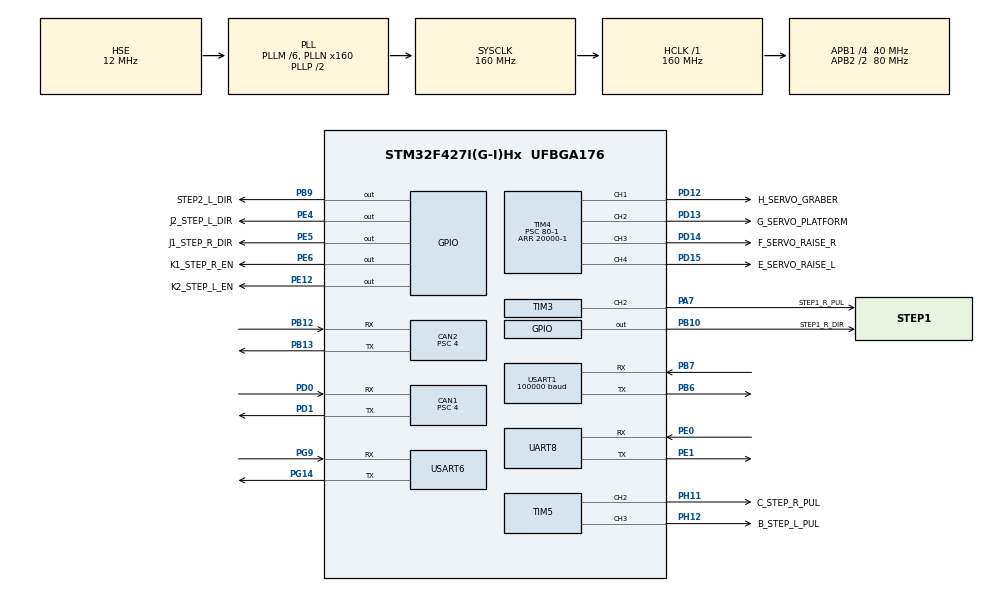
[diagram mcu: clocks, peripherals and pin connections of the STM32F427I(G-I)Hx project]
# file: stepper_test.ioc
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CAN1.BS1=CAN_BS1_6TQ
CAN1.BS2=CAN_BS2_3TQ
CAN1.CalculateBaudRate=1000000
CAN1.CalculateTimeBit=1000.00
CAN1.CalculateTimeQuantum=100.0
CAN1.Prescaler=4
CAN1.SJW=CAN_SJW_2TQ
CAN2.BS1=CAN_BS1_6TQ
CAN2.BS2=CAN_BS2_3TQ
CAN2.CalculateBaudRate=1000000
CAN2.CalculateTimeBit=1000.00
CAN2.CalculateTimeQuantum=100.0
CAN2.Prescaler=4
CAN2.SJW=CAN_SJW_2TQ
Dma.Request0=USART6_RX
Dma.Request1=USART6_TX
Dma.Request2=UART8_RX
Dma.Request3=UART8_TX
Dma.Request4=USART1_RX
Dma.UART8_RX.2.Direction=DMA_PERIPH_TO_MEMORY
Dma.UART8_RX.2.FIFOMode=DMA_FIFOMODE_DISABLE
Dma.UART8_RX.2.Instance=DMA1_Stream6
Dma.UART8_RX.2.MemDataAlignment=DMA_MDATAALIGN_BYTE
Dma.UART8_RX.2.MemInc=DMA_MINC_ENABLE
Dma.UART8_RX.2.Mode=DMA_NORMAL
Dma.UART8_RX.2.PeriphDataAlignment=DMA_PDATAALIGN_BYTE
Dma.UART8_RX.2.PeriphInc=DMA_PINC_DISABLE
Dma.UART8_RX.2.Priority=DMA_PRIORITY_LOW
Dma.UART8_TX.3.Direction=DMA_MEMORY_TO_PERIPH
Dma.UART8_TX.3.FIFOMode=DMA_FIFOMODE_DISABLE
Dma.UART8_TX.3.Instance=DMA1_Stream0
Dma.UART8_TX.3.MemDataAlignment=DMA_MDATAALIGN_BYTE
Dma.UART8_TX.3.MemInc=DMA_MINC_ENABLE
Dma.UART8_TX.3.Mode=DMA_NORMAL
Dma.UART8_TX.3.PeriphDataAlignment=DMA_PDATAALIGN_BYTE
Dma.UART8_TX.3.PeriphInc=DMA_PINC_DISABLE
Dma.UART8_TX.3.Priority=DMA_PRIORITY_LOW
Dma.USART1_RX.4.Direction=DMA_PERIPH_TO_MEMORY
Dma.USART1_RX.4.FIFOMode=DMA_FIFOMODE_DISABLE
Dma.USART1_RX.4.Instance=DMA2_Stream2
Dma.USART1_RX.4.MemDataAlignment=DMA_MDATAALIGN_BYTE
Dma.USART1_RX.4.MemInc=DMA_MINC_ENABLE
Dma.USART1_RX.4.Mode=DMA_NORMAL
Dma.USART1_RX.4.PeriphDataAlignment=DMA_PDATAALIGN_BYTE
Dma.USART1_RX.4.PeriphInc=DMA_PINC_DISABLE
Dma.USART1_RX.4.Priority=DMA_PRIORITY_LOW
Dma.USART6_RX.0.Direction=DMA_PERIPH_TO_MEMORY
Dma.USART6_RX.0.FIFOMode=DMA_FIFOMODE_DISABLE
Dma.USART6_RX.0.Instance=DMA2_Stream1
Dma.USART6_RX.0.MemDataAlignment=DMA_MDATAALIGN_BYTE
Dma.USART6_RX.0.MemInc=DMA_MINC_ENABLE
Dma.USART6_RX.0.Mode=DMA_NORMAL
Dma.USART6_RX.0.PeriphDataAlignment=DMA_PDATAALIGN_BYTE
Dma.USART6_RX.0.PeriphInc=DMA_PINC_DISABLE
Dma.USART6_RX.0.Priority=DMA_PRIORITY_HIGH
Dma.USART6_TX.1.Direction=DMA_MEMORY_TO_PERIPH
Dma.USART6_TX.1.FIFOMode=DMA_FIFOMODE_DISABLE
Dma.USART6_TX.1.Instance=DMA2_Stream6
Dma.USART6_TX.1.MemDataAlignment=DMA_MDATAALIGN_BYTE
Dma.USART6_TX.1.MemInc=DMA_MINC_ENABLE
Dma.USART6_TX.1.Mode=DMA_NORMAL
Dma.USART6_TX.1.PeriphDataAlignment=DMA_PDATAALIGN_BYTE
Dma.USART6_TX.1.PeriphInc=DMA_PINC_DISABLE
Dma.USART6_TX.1.Priority=DMA_PRIORITY_LOW
FREERTOS.Tasks01=defaultTask,24,128,StartDefaultTask,Default,NULL,Dynamic,NULL,NULL
Mcu.Family=STM32F4
Mcu.Name=STM32F427I(G-I)Hx
Mcu.Package=UFBGA176
NVIC.CAN1_RX0_IRQn=true\:5\:0\:false\:false\:true\:true\:true\:true
NVIC.CAN1_RX1_IRQn=true\:5\:0\:false\:false\:true\:true\:true\:true
NVIC.CAN2_RX0_IRQn=true\:5\:0\:false\:false\:true\:true\:true\:true
NVIC.CAN2_RX1_IRQn=true\:5\:0\:false\:false\:true\:true\:true\:true
NVIC.DMA1_Stream0_IRQn=true\:5\:0\:false\:false\:true\:true\:false\:true
NVIC.DMA1_Stream6_IRQn=true\:5\:0\:false\:false\:true\:true\:false\:true
NVIC.DMA2_Stream1_IRQn=true\:5\:0\:false\:false\:true\:true\:false\:true
NVIC.DMA2_Stream2_IRQn=true\:5\:0\:false\:false\:true\:true\:false\:true
NVIC.DMA2_Stream6_IRQn=true\:5\:0\:false\:false\:true\:true\:false\:true
NVIC.PriorityGroup=NVIC_PRIORITYGROUP_4
NVIC.TIM1_UP_TIM10_IRQn=true\:5\:0\:false\:false\:true\:true\:true\:true
NVIC.TIM7_IRQn=true\:0\:0\:false\:false\:true\:false\:false\:true
NVIC.TimeBase=TIM7_IRQn
NVIC.TimeBaseIP=TIM7
NVIC.UART8_IRQn=true\:5\:0\:false\:false\:true\:true\:true\:true
NVIC.USART1_IRQn=true\:5\:0\:false\:false\:true\:true\:true\:true
NVIC.USART6_IRQn=true\:5\:0\:false\:false\:true\:true\:true\:true
PA13.Mode=Serial_Wire
PA13.Signal=SYS_JTMS-SWDIO
PA14.Mode=Serial_Wire
PA14.Signal=SYS_JTCK-SWCLK
PA7.GPIO_Label=STEP1_R_PUL
PA7.Signal=S_TIM3_CH2
PB10.GPIO_Label=STEP1_R_DIR
PB10.GPIO_Speed=GPIO_SPEED_FREQ_HIGH
PB10.Signal=GPIO_Output
PB12.Mode=CAN_Activate
PB12.Signal=CAN2_RX
PB13.Mode=CAN_Activate
PB13.Signal=CAN2_TX
PB6.Mode=Asynchronous
PB6.Signal=USART1_TX
PB7.Mode=Asynchronous
PB7.Signal=USART1_RX
PB9.GPIO_Label=STEP2_L_DIR
PB9.GPIO_Speed=GPIO_SPEED_FREQ_HIGH
PB9.Signal=GPIO_Output
PD0.Mode=CAN_Activate
PD0.Signal=CAN1_RX
PD1.Mode=CAN_Activate
PD1.Signal=CAN1_TX
PD12.GPIO_Label=H_SERVO_GRABER
PD12.GPIO_ModeDefaultPP=GPIO_MODE_AF_PP
PD12.GPIO_PuPd=GPIO_NOPULL
PD12.GPIO_Speed=GPIO_SPEED_FREQ_LOW
PD12.Signal=S_TIM4_CH1
PD13.GPIO_Label=G_SERVO_PLATFORM
PD13.GPIO_ModeDefaultPP=GPIO_MODE_AF_PP
PD13.GPIO_PuPd=GPIO_NOPULL
PD13.GPIO_Speed=GPIO_SPEED_FREQ_LOW
PD13.Signal=S_TIM4_CH2
PD14.GPIO_Label=F_SERVO_RAISE_R
PD14.GPIO_ModeDefaultPP=GPIO_MODE_AF_PP
PD14.GPIO_PuPd=GPIO_NOPULL
PD14.GPIO_Speed=GPIO_SPEED_FREQ_LOW
PD14.Signal=S_TIM4_CH3
PD15.GPIO_Label=E_SERVO_RAISE_L
PD15.GPIO_ModeDefaultPP=GPIO_MODE_AF_PP
PD15.GPIO_PuPd=GPIO_NOPULL
PD15.GPIO_Speed=GPIO_SPEED_FREQ_LOW
PD15.Signal=S_TIM4_CH4
PE0.Mode=Asynchronous
PE0.Signal=UART8_RX
PE1.Mode=Asynchronous
PE1.Signal=UART8_TX
PE12.GPIO_Label=K2_STEP_L_EN
PE12.Signal=GPIO_Output
PE4.GPIO_Label=J2_STEP_L_DIR
PE4.GPIO_Speed=GPIO_SPEED_FREQ_HIGH
PE4.Signal=GPIO_Output
PE5.GPIO_Label=J1_STEP_R_DIR
PE5.GPIO_PuPd=GPIO_NOPULL
PE5.GPIO_Speed=GPIO_SPEED_FREQ_HIGH
PE5.PinState=GPIO_PIN_RESET
PE5.Signal=GPIO_Output
PE6.GPIO_Label=K1_STEP_R_EN
PE6.Signal=GPIO_Output
PG14.Mode=Asynchronous
PG14.Signal=USART6_TX
PG9.Mode=Asynchronous
PG9.Signal=USART6_RX
PH0/OSC_IN.Mode=HSE-External-Oscillator
PH0/OSC_IN.Signal=RCC_OSC_IN
PH1/OSC_OUT.Mode=HSE-External-Oscillator
PH1/OSC_OUT.Signal=RCC_OSC_OUT
PH11.GPIO_Label=C_STEP_R_PUL
PH11.Signal=S_TIM5_CH2
PH12.GPIO_Label=B_STEP_L_PUL
PH12.Signal=S_TIM5_CH3
ProjectManager.HeapSize=0x200
ProjectManager.StackSize=0x400
ProjectManager.TargetToolchain=MDK-ARM V5.27
RCC.48MHZClocksFreq_Value=80000000
RCC.AHBFreq_Value=160000000
RCC.APB1CLKDivider=RCC_HCLK_DIV4
RCC.APB1Freq_Value=40000000
RCC.APB1TimFreq_Value=80000000
RCC.APB2CLKDivider=RCC_HCLK_DIV2
RCC.APB2Freq_Value=80000000
RCC.APB2TimFreq_Value=160000000
RCC.CortexFreq_Value=160000000
RCC.HCLKFreq_Value=160000000
RCC.HSE_VALUE=12000000
RCC.HSI_VALUE=16000000
RCC.LSE_VALUE=32768
RCC.PLLM=6
RCC.PLLN=160
RCC.PLLSourceVirtual=RCC_PLLSOURCE_HSE
RCC.SYSCLKFreq_VALUE=160000000
RCC.SYSCLKSource=RCC_SYSCLKSOURCE_PLLCLK
RCC.VCOOutputFreq_Value=320000000
SH.S_TIM3_CH2.0=TIM3_CH2,PWM Generation2 CH2
SH.S_TIM4_CH1.0=TIM4_CH1,PWM Generation1 CH1
SH.S_TIM4_CH2.0=TIM4_CH2,PWM Generation2 CH2
SH.S_TIM4_CH3.0=TIM4_CH3,PWM Generation3 CH3
SH.S_TIM4_CH4.0=TIM4_CH4,PWM Generation4 CH4
SH.S_TIM5_CH2.0=TIM5_CH2,PWM Generation2 CH2
SH.S_TIM5_CH3.0=TIM5_CH3,PWM Generation3 CH3
TIM3.AutoReloadPreload=TIM_AUTORELOAD_PRELOAD_ENABLE
TIM3.Channel-PWM\ Generation2\ CH2=TIM_CHANNEL_2
TIM3.Period=1000-1
TIM3.Prescaler=80-1
TIM3.Pulse-PWM\ Generation2\ CH2=500-1
TIM3.TIM_MasterOutputTrigger=TIM_TRGO_UPDATE
TIM3.TIM_MasterSlaveMode=TIM_MASTERSLAVEMODE_ENABLE
TIM4.AutoReloadPreload=TIM_AUTORELOAD_PRELOAD_ENABLE
TIM4.Channel-PWM\ Generation1\ CH1=TIM_CHANNEL_1
TIM4.Channel-PWM\ Generation2\ CH2=TIM_CHANNEL_2
TIM4.Channel-PWM\ Generation3\ CH3=TIM_CHANNEL_3
TIM4.Channel-PWM\ Generation4\ CH4=TIM_CHANNEL_4
TIM4.Period=20000-1
TIM4.Prescaler=80-1
TIM5.Channel-PWM\ Generation2\ CH2=TIM_CHANNEL_2
TIM5.Channel-PWM\ Generation3\ CH3=TIM_CHANNEL_3
UART8.VirtualMode=Asynchronous
USART1.BaudRate=100000
USART1.Mode=MODE_RX
USART1.VirtualMode=VM_ASYNC
USART6.VirtualMode=VM_ASYNC
VP_FREERTOS_VS_CMSIS_V2.Mode=CMSIS_V2
VP_SYS_VS_tim7.Mode=TIM7
VP_TIM1_VS_ClockSourceINT.Mode=Internal
VP_TIM1_VS_ClockSourceITR.Mode=TriggerSource_ITR2
VP_TIM1_VS_ControllerModeGated.Mode=Gated Mode
board=custom

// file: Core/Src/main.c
/* USER CODE BEGIN Header */
/**
  ******************************************************************************
  * @file           : main.c
  * @brief          : Main program body
  ******************************************************************************
  * @attention
  *
  * <h2><center>&copy; Copyright (c) 2021 STMicroelectronics.
  * All rights reserved.</center></h2>
  *
  * This software component is licensed by ST under BSD 3-Clause license,
  * the "License"; You may not use this file except in compliance with the
  * License. You may obtain a copy of the License at:
  *                        opensource.org/licenses/BSD-3-Clause
  *
  ******************************************************************************
  */
/* USER CODE END Header */
#include "main.h"
#include "cmsis_os.h"
#include "can.h"
#include "dma.h"
#include "tim.h"
#include "usart.h"
#include "gpio.h"

/* USER CODE BEGIN Includes */
#include "navigation_module.h"
#include "motor.h"
#include "servo.h"
#include "bsp_can.h"
#include "stepper.h"
#include "arm.h"
#include "chassis.h"
#include "remote.h"
/* USER CODE END Includes */

/* USER CODE BEGIN PV */
extern struct Servo_t servo_grab;
extern struct Servo_t servo_platform;
extern struct Servo_t servo_raise_l;
extern struct Servo_t  servo_raise_r;
extern struct Stepper_t stepper;
// uint8_t pwm_ok=0;
extern Arm_t robot_arm;
extern struct Chassis_t chassis;
extern struct DT7Remote_t Remote;

extern struct CAN_Motor can1_motor_1;
extern struct CAN_Motor can1_motor_2;
extern struct CAN_Motor can1_motor_3;
extern struct CAN_Motor can1_motor_4;

/* USER CODE END PV */

void SystemClock_Config(void);
void MX_FREERTOS_Init(void);
/* USER CODE BEGIN PFP */
// void out_pwm(uint32_t num)
// {
//   if(pwm_ok==1)
//   {
//     pwm_ok=0;
// 	__HAL_TIM_SetCounter(&htim1,0);
//     __HAL_TIM_SET_AUTORELOAD(&htim1,num-1);
//     HAL_TIM_Base_Start_IT(&htim1);
//     HAL_TIM_PWM_Start_IT(&htim3,TIM_CHANNEL_2);
//   }
// }
/* USER CODE END PFP */

int main(void)

{

  /* MCU Configuration--------------------------------------------------------*/

  /* Reset of all peripherals, Initializes the Flash interface and the Systick. */
  HAL_Init();

  /* Configure the system clock */
  SystemClock_Config();

  /* Initialize all configured peripherals */
  MX_GPIO_Init();
  MX_DMA_Init();
  MX_TIM4_Init();
  MX_TIM5_Init();
  MX_CAN1_Init();
  MX_USART6_UART_Init();
  MX_UART8_Init();
  MX_TIM1_Init();
  MX_TIM3_Init();
  MX_USART1_UART_Init();
  MX_CAN2_Init();
  /* USER CODE BEGIN 2 */
	Remote_init();
  navi_init();  //初始化定位模块通信
  CanFilterInit(&hcan1);
  arm_attach(&robot_arm,&servo_grab,&servo_raise_l,&servo_raise_r,&servo_platform,&stepper);
  //arm_param_init(&robot_arm,grabber_release,90,0,H);
	MotorParamInit(&can1_motor_1,100,0,0,2400,5000,0,0,0,0,0);
	MotorParamInit(&can1_motor_2,100,0,0,2400,5000,0,0,0,0,0);
	MotorParamInit(&can1_motor_3,100,0,0,2400,5000,0,0,0,0,0);
	MotorParamInit(&can1_motor_4,100,0,0,2400,5000,0,0,0,0,0);

  stepper_init(&stepper); //步进电机初始化
	HAL_TIM_PWM_Start(&htim4,TIM_CHANNEL_1);	//舵机
	HAL_TIM_PWM_Start(&htim4,TIM_CHANNEL_2);	//舵机
	HAL_TIM_PWM_Start(&htim4,TIM_CHANNEL_3);	//舵机
	HAL_TIM_PWM_Start(&htim4,TIM_CHANNEL_4);	//舵机

//	HAL_TIM_PWM_Start(&htim3,TIM_CHANNEL_2);	//步进
	// HAL_TIM_PWM_Start(&htim5,TIM_CHANNEL_3);	//步进

  // HAL_TIM_Base_Start_IT(&htim1);
	//HAL_TIM_PWM_Start_IT(&htim3,TIM_CHANNEL_2);
  //__HAL_TIM_SET_AUTORELOAD(&htim1,0);

	//HAL_GPIO_WritePin(STEP2_L_DIR_GPIO_Port,STEP2_L_DIR_Pin,GPIO_PIN_RESET);	//
	// HAL_GPIO_WritePin(J2_STEP_L_DIR_GPIO_Port,J2_STEP_L_DIR_Pin,GPIO_PIN_SET);	//暂时用作5v输出
	// HAL_GPIO_WritePin(K1_STEP_R_EN_GPIO_Port,K1_STEP_R_EN_Pin,GPIO_PIN_SET);

//	__HAL_TIM_SetAutoreload(&htim3,2000);
//	__HAL_TIM_SetCompare(&htim3,TIM_CHANNEL_2,6000);

	// new_aar=500;
  /* USER CODE END 2 */

  /* Init scheduler */
  //osKernelInitialize();  /* Call init function for freertos objects (in freertos.c) */
  //MX_FREERTOS_Init();
  /* Start scheduler */
  //osKernelStart();

  /* We should never get here as control is now taken by the scheduler */
  /* Infinite loop */
  while (1)
  {

    /* USER CODE BEGIN 3 */
//	  arm_turn_wrist(&robot_arm,(enum Wrist_Pos_e)outside);
//	  HAL_Delay(1000);
//	  arm_catch(&robot_arm);
//	  HAL_Delay(700);
//	  arm_turn_wrist(&robot_arm,(enum Wrist_Pos_e)hold);
//	  arm_turnToID(&robot_arm,I);
//	  HAL_Delay(200);
//	  arm_turn_wrist(&robot_arm,(enum Wrist_Pos_e)platform);
//	  HAL_Delay(1000);
//	  arm_release(&robot_arm);
//	  HAL_Delay(2000);
//	  arm_turn_wrist(&robot_arm,(enum Wrist_Pos_e)camera);
//	  HAL_Delay(800);
//	  arm_turnToID(&robot_arm,H);
//
//	  //arm_turnToID(&robot_arm,T);
//	  HAL_Delay(1500);
//		stepper_setSpeed(&stepper,-2300);
//		stepper_setSteps(&stepper,3000);
//		HAL_Delay(5000);
//		stepper_setSpeed(&stepper,1300);
//		stepper_setSteps(&stepper,3000);
//		HAL_Delay(5000);

	  if(Remote.inputmode==RC_Remote)
	  {
			//chassis_move(10,0);
//			stepper_setSpeed(&stepper,2300);
//			stepper_setSteps(&stepper,10000);
//			HAL_Delay(2000);
			arm_lift(&robot_arm,10000,2300);

			//CanTransmit_1234(&hcan1,-1000, 1000, 1000, -1000);

		}
		else if(Remote.inputmode==RC_Stop)
		{
			stepper_stop(&stepper);
			//CanTransmit_1234(&hcan1,0, 0, 0, 0);
			HAL_Delay(20);

		}
		else if(Remote.inputmode==RC_MouseKey)
		{
			stepper_setSpeed(&stepper,-2300);
			stepper_setSteps(&stepper,10000);
			HAL_Delay(20);
		}
  }
  /* USER CODE END 3 */
}

void SystemClock_Config(void)
{
  RCC_OscInitTypeDef RCC_OscInitStruct = {0};
  RCC_ClkInitTypeDef RCC_ClkInitStruct = {0};

  /** Configure the main internal regulator output voltage
  */
  __HAL_RCC_PWR_CLK_ENABLE();
  __HAL_PWR_VOLTAGESCALING_CONFIG(PWR_REGULATOR_VOLTAGE_SCALE1);
  /** Initializes the RCC Oscillators according to the specified parameters
  * in the RCC_OscInitTypeDef structure.
  */
  RCC_OscInitStruct.OscillatorType = RCC_OSCILLATORTYPE_HSE;
  RCC_OscInitStruct.HSEState = RCC_HSE_ON;
  RCC_OscInitStruct.PLL.PLLState = RCC_PLL_ON;
  RCC_OscInitStruct.PLL.PLLSource = RCC_PLLSOURCE_HSE;
  RCC_OscInitStruct.PLL.PLLM = 6;
  RCC_OscInitStruct.PLL.PLLN = 160;
  RCC_OscInitStruct.PLL.PLLP = RCC_PLLP_DIV2;
  RCC_OscInitStruct.PLL.PLLQ = 4;
  if (HAL_RCC_OscConfig(&RCC_OscInitStruct) != HAL_OK)
  {
    Error_Handler();
  }
  /** Initializes the CPU, AHB and APB buses clocks
  */
  RCC_ClkInitStruct.ClockType = RCC_CLOCKTYPE_HCLK|RCC_CLOCKTYPE_SYSCLK
                              |RCC_CLOCKTYPE_PCLK1|RCC_CLOCKTYPE_PCLK2;
  RCC_ClkInitStruct.SYSCLKSource = RCC_SYSCLKSOURCE_PLLCLK;
  RCC_ClkInitStruct.AHBCLKDivider = RCC_SYSCLK_DIV1;
  RCC_ClkInitStruct.APB1CLKDivider = RCC_HCLK_DIV4;
  RCC_ClkInitStruct.APB2CLKDivider = RCC_HCLK_DIV2;

  if (HAL_RCC_ClockConfig(&RCC_ClkInitStruct, FLASH_LATENCY_5) != HAL_OK)
  {
    Error_Handler();
  }
}

 /**
  * @brief  Period elapsed callback in non blocking mode
  * @note   This function is called  when TIM7 interrupt took place, inside
  * HAL_TIM_IRQHandler(). It makes a direct call to HAL_IncTick() to increment
  * a global variable "uwTick" used as application time base.
  * @param  htim : TIM handle
  * @retval None
  */
void HAL_TIM_PeriodElapsedCallback(TIM_HandleTypeDef *htim)
{
  if (htim->Instance == TIM7) {
    HAL_IncTick();
  }
  /* USER CODE BEGIN Callback 1 */
  if (htim==(&SLAVE_HTIM))
  {
    stepper_TIM_PeriodElapsedCallback(&SLAVE_HTIM,&stepper);

  }

  /* USER CODE END Callback 1 */
}

void Error_Handler(void)
{
  __disable_irq();
  while (1)
  {
  }
}

/************************ (C) COPYRIGHT STMicroelectronics *****END OF FILE****/
